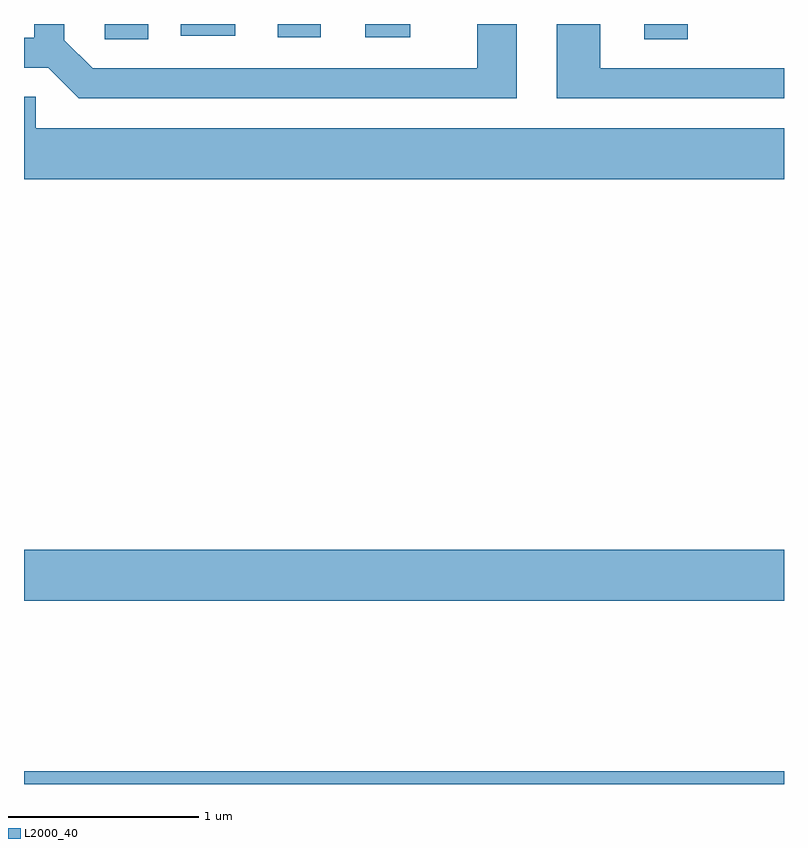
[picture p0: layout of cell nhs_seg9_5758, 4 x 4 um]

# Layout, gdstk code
import gdstk
lib = gdstk.Library(unit=1e-6, precision=1e-09)
def R(c, l, rs):  # rectangles x0, y0, x1, y1
    for r in rs: c.add(gdstk.rectangle(r[:2], r[2:], *l))
def P(c, l, *ps):  # polygons
    for p in ps: c.add(gdstk.Polygon(p, *l))
L2000_40 = (2000, 40)

nhs_seg9_5758 = lib.new_cell('nhs_seg9_5758')
R(nhs_seg9_5758, L2000_40, [(355.611,1966.432,359.611,1966.499), (355.611,1967.396,359.611,1967.664), (356.036,1970.351,356.264,1970.432), (358.876,1970.351,359.104,1970.432), (356.946,1970.361,357.174,1970.432), (357.406,1970.361,357.643,1970.432), (356.436,1970.371,356.723,1970.432), (359.256,1970.431,359.611,1970.432)])
P(nhs_seg9_5758, L2000_40, [(358.204,1970.432),(357.996,1970.432),(357.996,1970.199),(355.972,1970.199),(355.824,1970.347),(355.824,1970.432),(355.666,1970.432),(355.666,1970.359),(355.611,1970.359),(355.611,1970.201),(355.739,1970.201),(355.899,1970.041),(358.204,1970.041)],
  [(359.611,1970.199),(358.644,1970.199),(358.644,1970.432),(358.416,1970.432),(358.416,1970.041),(359.611,1970.041)],
  [(359.611,1969.884),(355.674,1969.884),(355.674,1970.049),(355.611,1970.049),(355.611,1969.616),(359.611,1969.616)])

lib.write_gds('nhs_seg9_5758.gds')
